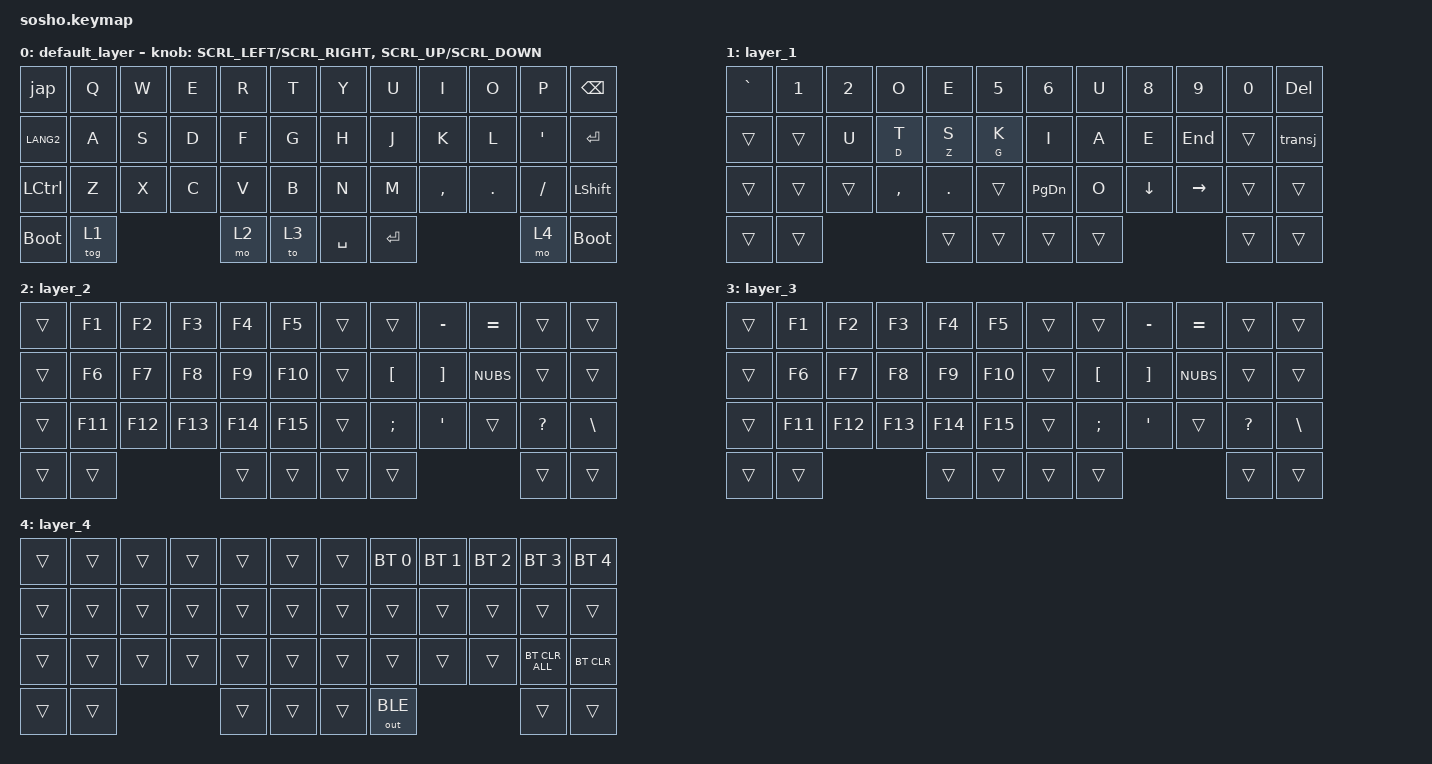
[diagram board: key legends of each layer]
//スクロール量の調整(デフォルト150)

#define ZMK_POINTING_DEFAULT_SCRL_VAL 150

#include <behaviors.dtsi>
#include <dt-bindings/zmk/bt.h>
#include <dt-bindings/zmk/keys.h>
#include <dt-bindings/zmk/outputs.h>
#include <dt-bindings/zmk/pointing.h>

/ {
    behaviors {
        //エンコーダにスクロールを割り当てるためのビヘイビア

        msc_ec_l: sensor_rotation_scroll_L {
            compatible = "zmk,behavior-sensor-rotate-var";
            #sensor-binding-cells = <2>;
            bindings = <&msc>, <&msc>;

            tap-ms = <20>;
        };

        msc_ec_r: sensor_rotation_scroll_R {
            compatible = "zmk,behavior-sensor-rotate-var";
            #sensor-binding-cells = <2>;
            bindings = <&msc>, <&msc>;

            tap-ms = <20>;
        };
    };
};

//スクロールの調整

&msc {
    time-to-max-speed-ms = <0>;   // 即座に最大速度（加速なし）
    acceleration-exponent = <0>;   // 加速なし
};

/ {
    combos {
        compatible = "zmk,combos";
        prioritize-longer-keys;

        //左クリックのコンボ 19 J 20 K

        combo_LCLK {
            timeout-ms = <50>;
            key-positions = <19 20>;
            bindings = <&mkp LCLK>;
        };

        //右クリックのコンボ 20 K 21 L

        combo_RCLK {
            timeout-ms = <50>;
            key-positions = <20 21>;
            bindings = <&mkp RCLK>;
        };

        //ホイールクリックのコンボ 19 J 21 L

        combo_MCLK {
            timeout-ms = <90>;
            key-positions = <19 21>;
            bindings = <&mkp MCLK>;
        };

        //作ったけど消した。ポインティングデバイスをスクロールにしたい人向け
        //31 M 32 ,

        combo_SCROLL {
            timeout-ms = <50>;
            key-positions = <31 32 42>;
            bindings = <&mo 4>;
        };
    };
};

/ {
    macros {
        jap: jap {
            compatible = "zmk,behavior-macro";
            #binding-cells = <0>;
            bindings = <&kp LANGUAGE_1 &to 1>;
            label = "JAP";
        };

        eng: eng {
            compatible = "zmk,behavior-macro";
            #binding-cells = <0>;
            bindings = <&kp LANGUAGE_2 &to 0>;
            label = "ENG";
        };
    };

    keymap {
        compatible = "zmk,keymap";

        default_layer {
            bindings = <
&jap         &kp Q   &kp W  &kp E  &kp R  &kp T  &kp Y      &kp U    &kp I      &kp O    &kp P      &kp BSPC
&kp LANG2    &kp A   &kp S  &kp D  &kp F  &kp G  &kp H      &kp J    &kp K      &kp L    &kp SQT    &kp ENTER
&kp LCTRL    &kp Z   &kp X  &kp C  &kp V  &kp B  &kp N      &kp M    &kp COMMA  &kp DOT  &kp SLASH  &kp LSHFT
&bootloader  &tog 1                &mo 2  &to 3  &kp SPACE  &kp RET                      &mo 4      &bootloader
            >;

            //&msc_ec_lとrは、上のビヘイビアで作ったもの。

            sensor-bindings = <&msc_ec_l SCRL_LEFT SCRL_RIGHT &msc_ec_r SCRL_UP SCRL_DOWN>;
        };

        layer_1 {
            bindings = <
&kp GRAVE  &kp N1  &kp N2  &kp O      &kp E       &kp N5   &kp N6     &kp U   &kp N8    &kp N9     &kp N0  &kp DEL
&trans     &trans  &kp U   &mt D T    &mt Z S     &mt G K  &kp I      &kp A   &kp E     &kp END    &trans  &transj
&trans     &trans  &trans  &kp COMMA  &kp PERIOD  &trans   &kp PG_DN  &kp O   &kp DOWN  &kp RIGHT  &trans  &trans
&trans     &trans                     &trans      &trans   &trans     &trans                       &trans  &trans
            >;
        };

        layer_2 {
            bindings = <
&trans  &kp F1   &kp F2   &kp F3   &kp F4   &kp F5   &trans  &trans    &kp MINUS  &kp EQUAL  &trans     &trans
&trans  &kp F6   &kp F7   &kp F8   &kp F9   &kp F10  &trans  &kp LBKT  &kp RBKT   &kp NUBS   &trans     &trans
&trans  &kp F11  &kp F12  &kp F13  &kp F14  &kp F15  &trans  &kp SEMI  &kp SQT    &trans     &kp QMARK  &kp BSLH
&trans  &trans                     &trans   &trans   &trans  &trans                          &trans     &trans
            >;
        };

        layer_3 {
            bindings = <
&trans  &kp F1   &kp F2   &kp F3   &kp F4   &kp F5   &trans  &trans    &kp MINUS  &kp EQUAL  &trans     &trans
&trans  &kp F6   &kp F7   &kp F8   &kp F9   &kp F10  &trans  &kp LBKT  &kp RBKT   &kp NUBS   &trans     &trans
&trans  &kp F11  &kp F12  &kp F13  &kp F14  &kp F15  &trans  &kp SEMI  &kp SQT    &trans     &kp QMARK  &kp BSLH
&trans  &trans                     &trans   &trans   &trans  &trans                          &trans     &trans
            >;
        };

        layer_4 {
            bindings = <
&trans  &trans  &trans  &trans  &trans  &trans  &trans  &bt BT_SEL 0  &bt BT_SEL 1  &bt BT_SEL 2  &bt BT_SEL 3    &bt BT_SEL 4
&trans  &trans  &trans  &trans  &trans  &trans  &trans  &trans        &trans        &trans        &trans          &trans
&trans  &trans  &trans  &trans  &trans  &trans  &trans  &trans        &trans        &trans        &bt BT_CLR_ALL  &bt BT_CLR
&trans  &trans                  &trans  &trans  &trans  &out OUT_BLE                              &trans          &trans
            >;
        };

        J

        scroll { status = "reserved"; };

        extra2 { status = "reserved"; };
    };
};
